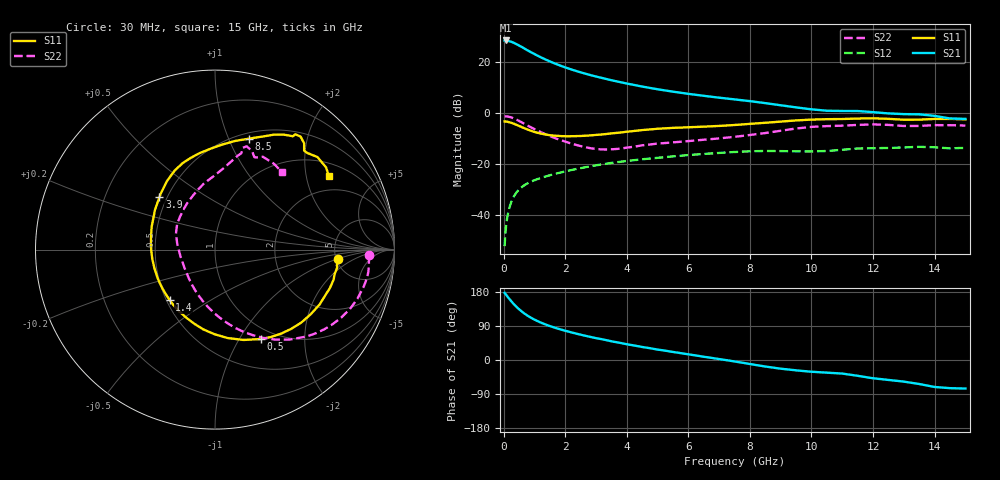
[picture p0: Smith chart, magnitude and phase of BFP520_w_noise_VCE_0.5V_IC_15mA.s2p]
! Infineon Technologies  Discrete & RF Semiconductors
! BFP520
! VCE =  0.5 V,  IC =  15 mA
! Common Emitter S-Parameters:  Oct 2015
# GHz  S  MA  R  50
!  f  S11  S21  S12  S22
! GHz  MAG  ANG  MAG  ANG  MAG  ANG  MAG  ANG
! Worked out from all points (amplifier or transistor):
!   109 points, 30 MHz to 15 GHz, reference 50 ohm
!   highest |S21| = 28.4 dB at 70 MHz (marker M1)
!   |S21| within 3 dB of that: start of sweep to 651.8 MHz
!   unconditionally stable (mu >= 1): start of sweep to 31.23 MHz; 2.461 GHz to end of sweep
!   at 450 MHz: K = 0.36, MSG = 28.6 dB, |S12| = -30.5 dB
!   at 4 GHz: K = 1.15, MAG = 12.8 dB, |S12| = -18.7 dB
!   at 15 GHz: K = 1.32, MAG = 2.3 dB, |S12| = -13.6 dB
!   lowest NFmin = 1.81 dB at 900 MHz
!   S11 on the Smith chart (normalised r, x): 30 MHz: 5.18, -1.01; 500 MHz: 0.86, -1.24; 1.4 GHz: 0.52, -0.34; 3.9 GHz: 0.46, +0.32; 8.5 GHz: 0.56, +1.19; 15 GHz: 1.41, +2.71
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0.03  0.6868 -4.3  26.3 177.3  0.0025 91.9  0.8584 -2.0
0.07  0.6848 -9.8  26.32 172.8  0.0055 86.4  0.862 -6.3
0.12  0.6775 -16.8  26.01 167.8  0.0093 82.2  0.8591 -11.3
0.2  0.6581 -27.7  25.31 159.6  0.0151 77.6  0.8392 -19.1
0.3  0.6294 -40.3  24.04 150.1  0.0217 71.6  0.7992 -28.2
0.4  0.5955 -51.9  22.55 141.6  0.0272 66.9  0.7529 -36.2
0.5  0.5602 -62.8  20.92 134.0  0.032 63.0  0.7024 -43.6
0.6  0.5278 -72.5  19.44 127.2  0.0363 59.9  0.6522 -50.2
0.7  0.4977 -81.9  17.92 121.1  0.0399 57.1  0.6046 -56.1
0.9  0.4487 -98.5  15.37 110.9  0.046 53.3  0.5218 -66.1
1.1  0.4119 -112.8  13.29 102.7  0.0512 50.7  0.4547 -74.9
1.4  0.3783 -132.0  10.89 92.5  0.0585 47.9  0.3758 -86.7
1.9  0.3539 -158.4  8.227 79.5  0.0701 44.5  0.2895 -104.6
2.6  0.3596 173.1  6.019 64.9  0.0862 39.8  0.219 -130.9
3  0.3746 160.5  5.184 57.7  0.0952 36.8  0.1989 -147.9
3.9  0.4251 136.8  3.898 43.3  0.1138 29.2  0.2067 176.0
5.1  0.4978 115.7  2.861 26.4  0.1352 19.3  0.2561 144.3
7.6  0.5909 84.9  1.825 -5.2  0.1746 -3.2  0.3492 105.4
8.5  0.647 72.9  1.566 -17.2  0.1815 -12.8  0.4075 91.4
10.5  0.7605 56.5  1.112 -33.4  0.1813 -24.6  0.5567 74.7
13  0.7422 48.0  0.955 -57.0  0.2131 -44.8  0.56 66.9
15  0.7557 33.0  0.77 -75.3  0.2091 -60.8  0.5704 49.2
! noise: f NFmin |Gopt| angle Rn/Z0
0.45  1.82  0.2  1  0.28
0.9  1.81  0.19  5  0.3
1.9  1.97  0.18  8  0.27
2.4  1.97  0.14  17  0.27
3.5  1.91  0.1  38  0.28
